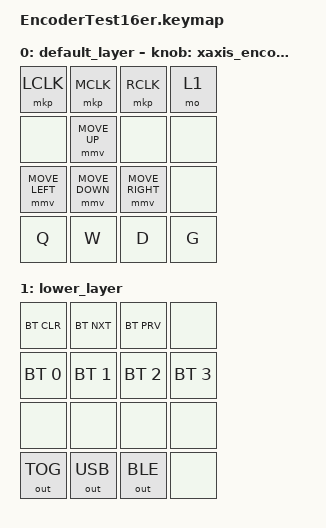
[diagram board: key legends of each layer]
#define HOST_OS 1

#include <behaviors.dtsi>
#include <dt-bindings/zmk/keys.h>
#include <dt-bindings/zmk/bt.h>
#include <dt-bindings/zmk/outputs.h>
#include <dt-bindings/zmk/mouse.h>

// helper.h from https://github.com/urob/zmk-nodefree-config/tree/main
#include "helper.h"

// ZMK_UNICODE_PAIR(   de_ae,      N0, N0,  E, N4,    N0, N0,  C, N4)

// #define DEFAULT 0
// #define LOWER   1

// #define MY_MACRO(name, unicode_bindings) \
//     / { \
//         macros { \
//             name: name { \
//                 compatible = "zmk,behavior-macro"; \
//                 label = ZMK_HELPER_STRINGIFY(UC_MACRO_ ## name); \
//                 wait-ms = <0>; \
//                 tap-ms = <0>; \
//                 #binding-cells = <0>; \
//                 bindings = <&macro_press &kp LGUI &kp RALT>, <&macro_tap unicode_bindings>, <&macro_release &kp LGUI &kp RALT>; \
//             }; \
//         }; \
//     };

// MY_MACRO(constrainDistance, &kp F  &kp F  &kp E  &kp N0)

// &sensors { status = "okay"; };
// &x_encoder { status = "okay"; };

/ {
    macros {
        makro_move_left: zed_em_kay1 {
            compatible = "zmk,behavior-macro";
            #binding-cells = <0>;
            bindings = <&mmv MOVE_LEFT>;
        };

        makro_move_right: zed_em_kay2 {
            compatible = "zmk,behavior-macro";
            #binding-cells = <0>;
            bindings = <&mmv MOVE_RIGHT>;
        };
    };

    behaviors {
        xaxis_encoder: encoder {
            compatible = "zmk,behavior-sensor-rotate";
            #sensor-binding-cells = <0>; // const
            //bindings = <&mmv MOVE_LEFT>, <&mmv MOVE_RIGHT>;
            //bindings = <&kp C_VOL_UP>, <&kp C_VOL_DN>;
            bindings = <&makro_move_left>, <&makro_move_right>;
        };
        //  xaxis_encoder_var: encoder_left {
        //     compatible = "zmk,behavior-sensor-rotate_var";
        //     #sensor-binding-cells = <2>; // const
        //     bindings = <&mmv>, <&mmv>;
        // };
    };

    keymap {
        compatible = "zmk,keymap";
        default_layer {
        // MB1   MB3   MB2   Layer 1
        // Z     Y     {     }
        // F     D     S     A
        // F13   F14   D     G
            bindings = <
              &mkp LCLK         &mkp MCLK         &mkp RCLK         &mo 1 /* switch to layer lower_layer while pressed */
              &none             &mmv MOVE_UP      &none             &none
              &mmv MOVE_LEFT    &mmv MOVE_DOWN    &mmv MOVE_RIGHT   &none
              &kp Q             &kp W             &kp D             &kp G
            >;

            //sensor-bindings = <&inc_dec_kp C_VOL_UP C_VOL_DN>;
            sensor-bindings = <&xaxis_encoder>;
            //sensor-bindings = <&xaxis_encoder_var MOVE_LEFT MOVE_RIGHT>;
        };

        lower_layer {
            bindings = <
                &bt BT_CLR    &bt BT_NXT    &bt BT_PRV    &none
                &bt BT_SEL 0  &bt BT_SEL 1  &bt BT_SEL 2  &bt BT_SEL 3
                &none         &none         &none         &none
                &out OUT_TOG  &out OUT_USB  &out OUT_BLE  &none
            >;
        };
    };
};

